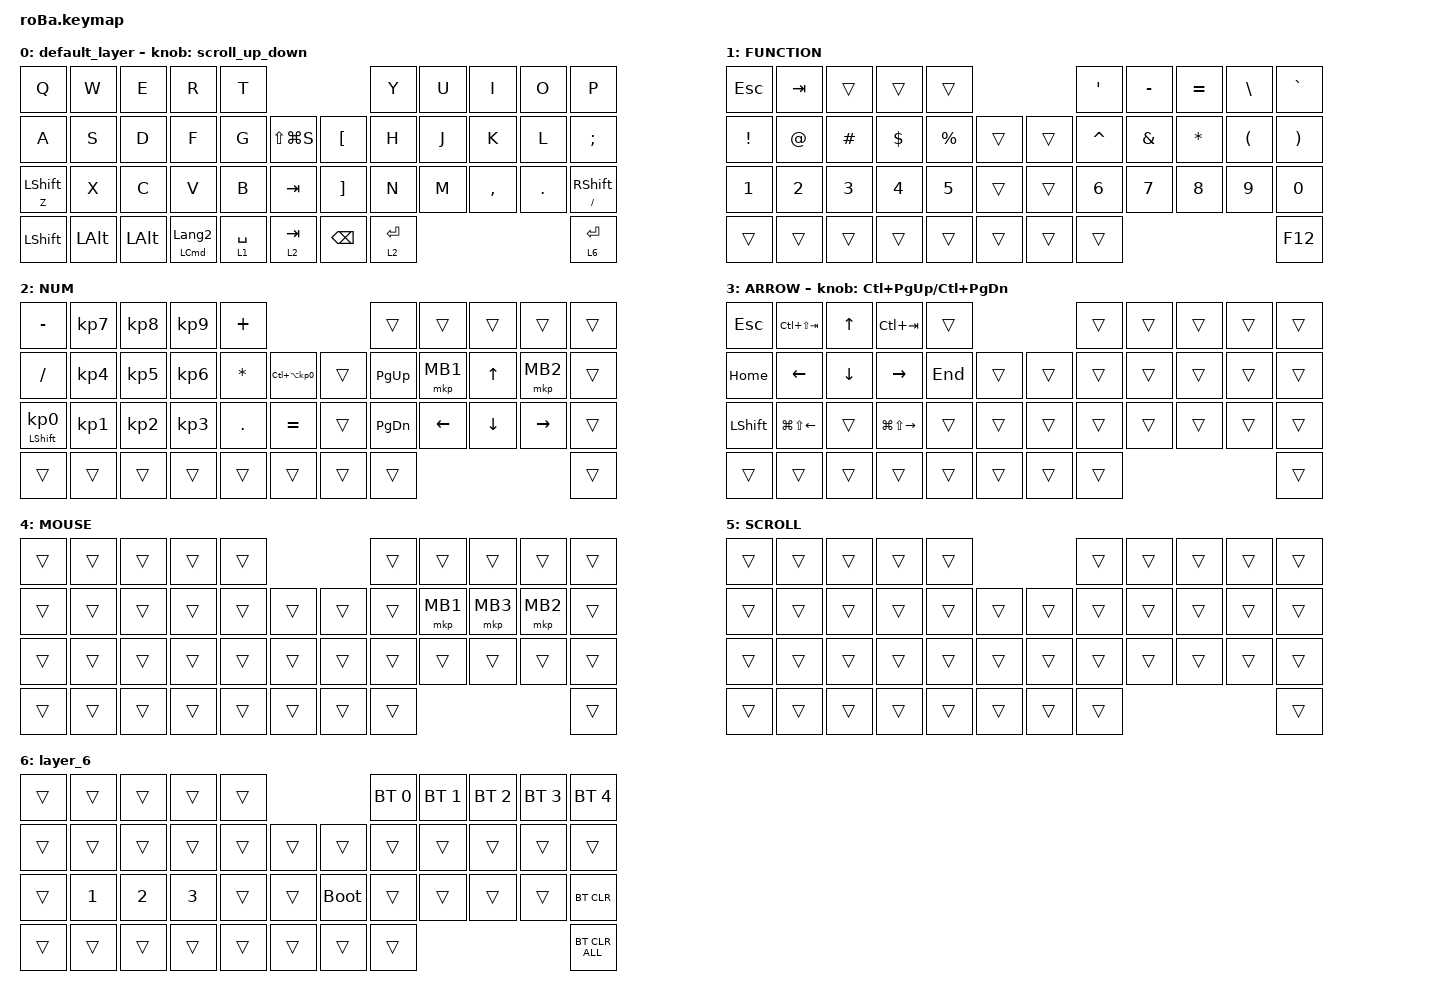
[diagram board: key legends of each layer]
#include <behaviors.dtsi>
#include <dt-bindings/zmk/bt.h>
#include <dt-bindings/zmk/keys.h>
#include <dt-bindings/zmk/pointing.h>
#include <dt-bindings/zmk/pointing.h>

#define MOUSE 4
#define SCROLL 5
#define NUM 6
#define ZMK_MOUSE_DEFAULT_SCRL_VAL 100

&mt {
    flavor = "balanced";
    quick-tap-ms = <0>;
};

/ {
    combos {
        compatible = "zmk,combos";

        tab {
            bindings = <&kp TAB>;
            key-positions = <11 12>;
        };

        shift_tab {
            bindings = <&kp LS(TAB)>;
            key-positions = <12 13>;
        };

        muhennkann {
            bindings = <&to_layer_0 INT_MUHENKAN>;
            key-positions = <11 10>;
        };

        double_quotation {
            bindings = <&kp DOUBLE_QUOTES>;
            key-positions = <20 21>;
        };

        eq {
            bindings = <&kp EQUAL>;
            key-positions = <24 25>;
        };
    };

    macros {
        to_layer_0: to_layer_0 {
            compatible = "zmk,behavior-macro-one-param";
            #binding-cells = <1>;
            bindings = <&to 0 &macro_param_1to1 &kp MACRO_PLACEHOLDER>;
            label = "TO_LAYER_0";
        };
    };

    behaviors {
        lt_to_layer_0: lt_to_layer_0 {
            compatible = "zmk,behavior-hold-tap";
            label = "LAYER_TAP_TO_0";
            bindings = <&mo>, <&to_layer_0>;

            #binding-cells = <2>;
            tapping-term-ms = <200>;
        };

        scroll_up_down: behavior_sensor_rotate_mouse_wheel_up_down {
            compatible = "zmk,behavior-sensor-rotate";
            #sensor-binding-cells = <0>;
            bindings = <&msc SCRL_UP>, <&msc SCRL_DOWN>;

            tap-ms = <20>;
        };
    };

    keymap {
        compatible = "zmk,keymap";

        default_layer {
            bindings = <
&kp Q             &kp W         &kp E         &kp R                        &kp T                                              &kp Y        &kp U  &kp I      &kp O    &kp P
&kp A             &kp S         &kp D         &kp F                        &kp G        &kp LS(LG(S))      &kp LEFT_BRACKET   &kp H        &kp J  &kp K      &kp L    &kp SEMICOLON
&mt Z LEFT_SHIFT  &kp X         &kp C         &kp V                        &kp B        &kp TAB            &kp RIGHT_BRACKET  &kp N        &kp M  &kp COMMA  &kp DOT  &mt SLASH RIGHT_SHIFT
&kp LEFT_SHIFT    &kp LEFT_ALT  &kp LEFT_ALT  &mt LEFT_COMMAND LANGUAGE_2  &lt 1 SPACE  &lt 2 TAB          &kp BACKSPACE      &lt 2 ENTER                             &lt_to_layer_0 6 ENTER
            >;

            sensor-bindings = <&scroll_up_down>;
        };

        FUNCTION {
            bindings = <
&kp ESCAPE       &kp TAB      &trans    &trans      &trans                           &kp SQT    &kp MINUS      &kp EQUAL     &kp BACKSLASH         &kp GRAVE
&kp EXCLAMATION  &kp AT_SIGN  &kp HASH  &kp DOLLAR  &kp PERCENT  &trans      &trans  &kp CARET  &kp AMPERSAND  &kp ASTERISK  &kp LEFT_PARENTHESIS  &kp RIGHT_PARENTHESIS
&kp NUMBER_1     &kp N2       &kp N3    &kp N4      &kp N5       &trans      &trans  &kp N6     &kp N7         &kp N8        &kp N9                &kp N0
&trans           &trans       &trans    &trans      &trans       &trans      &trans  &trans                                                        &kp F12
            >;
        };

        NUM {
            bindings = <
&kp MINUS                   &kp KP_NUMBER_7  &kp KP_NUMBER_8  &kp KP_NUMBER_9  &kp PLUS                                           &trans         &trans          &trans          &trans           &trans
&kp SLASH                   &kp KP_NUMBER_4  &kp KP_NUMBER_5  &kp KP_NUMBER_6  &kp ASTERISK  &kp LC(LA(KP_NUMBER_0))      &trans  &kp PAGE_UP    &mkp MB1        &kp UP_ARROW    &mkp MB2         &trans
&mt LEFT_SHIFT KP_NUMBER_0  &kp KP_NUMBER_1  &kp KP_NUMBER_2  &kp KP_NUMBER_3  &kp PERIOD    &kp EQUAL                    &trans  &kp PAGE_DOWN  &kp LEFT_ARROW  &kp DOWN_ARROW  &kp RIGHT_ARROW  &trans
&trans                      &trans           &trans           &trans           &trans        &trans                       &trans  &trans                                                          &trans
            >;
        };

        ARROW {
            bindings = <
&kp ESCAPE      &kp LC(LS(TAB))         &kp UP_ARROW    &kp LC(TAB)              &trans                       &trans  &trans  &trans  &trans  &trans
&kp HOME        &kp LEFT_ARROW          &kp DOWN_ARROW  &kp RIGHT_ARROW          &kp END  &trans      &trans  &trans  &trans  &trans  &trans  &trans
&kp LEFT_SHIFT  &kp LG(LS(LEFT_ARROW))  &trans          &kp LG(LS(RIGHT_ARROW))  &trans   &trans      &trans  &trans  &trans  &trans  &trans  &trans
&trans          &trans                  &trans          &trans                   &trans   &trans      &trans  &trans                          &trans
            >;

            sensor-bindings = <&inc_dec_kp LC(PAGE_UP) LC(PAGE_DOWN)>;
        };

        MOUSE {
            bindings = <
&trans  &trans  &trans  &trans  &trans                      &trans  &trans    &trans    &trans    &trans
&trans  &trans  &trans  &trans  &trans  &trans      &trans  &trans  &mkp MB1  &mkp MB3  &mkp MB2  &trans
&trans  &trans  &trans  &trans  &trans  &trans      &trans  &trans  &trans    &trans    &trans    &trans
&trans  &trans  &trans  &trans  &trans  &trans      &trans  &trans                                &trans
            >;
        };

        SCROLL {
            bindings = <
&trans  &trans  &trans  &trans  &trans                      &trans  &trans  &trans  &trans  &trans
&trans  &trans  &trans  &trans  &trans  &trans      &trans  &trans  &trans  &trans  &trans  &trans
&trans  &trans  &trans  &trans  &trans  &trans      &trans  &trans  &trans  &trans  &trans  &trans
&trans  &trans  &trans  &trans  &trans  &trans      &trans  &trans                          &trans
            >;
        };

        layer_6 {
            bindings = <
&trans  &trans        &trans        &trans        &trans                           &bt BT_SEL 0  &bt BT_SEL 1  &bt BT_SEL 2  &bt BT_SEL 3  &bt BT_SEL 4
&trans  &trans        &trans        &trans        &trans  &trans      &trans       &trans        &trans        &trans        &trans        &trans
&trans  &kp NUMBER_1  &kp NUMBER_2  &kp NUMBER_3  &trans  &trans      &bootloader  &trans        &trans        &trans        &trans        &bt BT_CLR
&trans  &trans        &trans        &trans        &trans  &trans      &trans       &trans                                                  &bt BT_CLR_ALL
            >;
        };
    };
};
